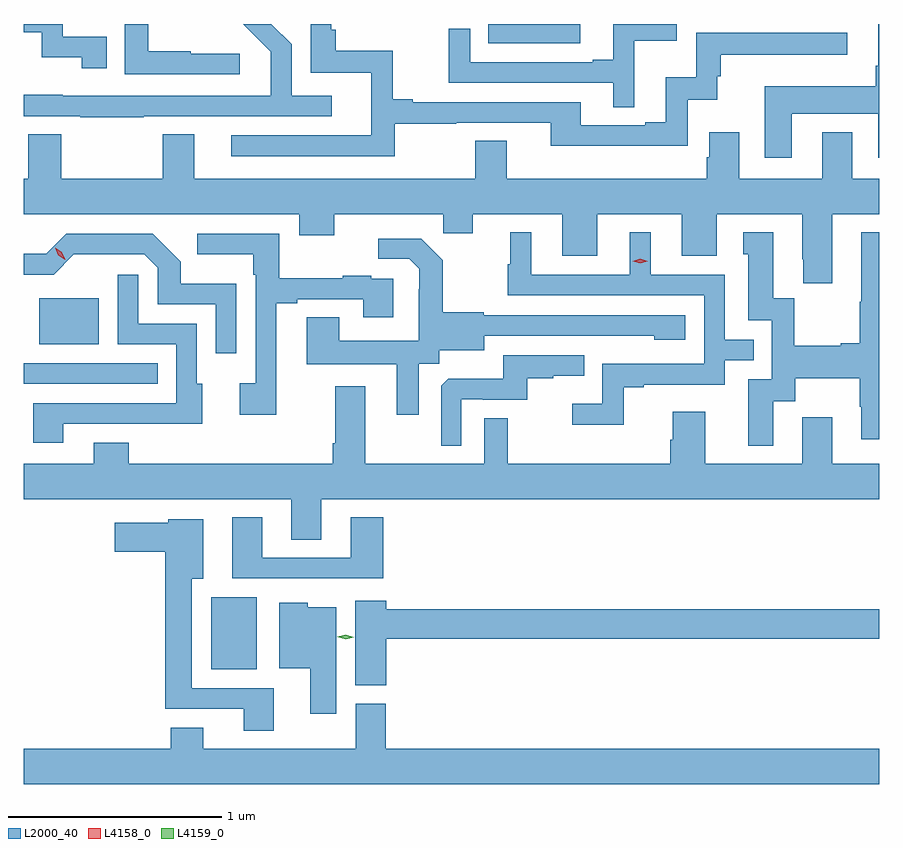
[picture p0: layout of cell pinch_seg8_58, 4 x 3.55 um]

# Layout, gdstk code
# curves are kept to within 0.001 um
import gdstk
lib = gdstk.Library(unit=1e-6, precision=1e-09)
def R(c, l, rs):  # rectangles x0, y0, x1, y1
    for r in rs: c.add(gdstk.rectangle(r[:2], r[2:], *l))
def P(c, l, *ps):  # polygons
    for p in ps: c.add(gdstk.Polygon(p, *l))
L2000_40 = (2000, 40)
L4158_0 = (4158, 0)
L4159_0 = (4159, 0)

pinch_seg8_58 = lib.new_cell('pinch_seg8_58')
R(pinch_seg8_58, L2000_40, [(914.15,1106.381,914.362,1106.716), (913.273,1107.714,913.901,1107.81), (913.346,1107.899,913.624,1108.114), (915.445,1109.306,915.874,1109.396)])
P(pinch_seg8_58, L2000_40, [(914.284,1109.258),(914.055,1109.258),(914.055,1109.269),(913.855,1109.269),(913.855,1109.396),(913.746,1109.396),(913.746,1109.16),(914.284,1109.16)],
  [(915.007,1108.93),(915.296,1108.93),(915.296,1108.935),(915.737,1108.935),(915.737,1108.826),(916.378,1108.826),(916.378,1109.042),(916.515,1109.042),(916.515,1109.151),(916.532,1109.151),(916.532,1109.252),(917.122,1109.252),(917.122,1109.356),(916.416,1109.356),(916.416,1109.146),(916.274,1109.146),(916.274,1108.936),(916.178,1108.936),(916.178,1108.923),(915.877,1108.923),(915.877,1109.031),(915.091,1109.031),(915.091,1109.044),(914.999,1109.044),(914.999,1109.27),(914.732,1109.27),(914.732,1109.369),(914.712,1109.369),(914.712,1109.396),(914.616,1109.396),(914.616,1109.167),(914.897,1109.167),(914.897,1108.875),(914.244,1108.875),(914.244,1108.779),(915.007,1108.779)],
  [(916.864,1108.976),(917.267,1108.976),(917.267,1108.77),(917.273,1108.77),(917.273,1109.396),(917.267,1109.396),(917.267,1109.2),(917.255,1109.2),(917.255,1109.104),(916.736,1109.104),(916.736,1108.77),(916.864,1108.77)],
  [(913.835,1108.965),(914.713,1108.965),(914.713,1109.061),(914.526,1109.061),(914.526,1109.301),(914.431,1109.396),(914.3,1109.396),(914.429,1109.266),(914.429,1109.061),(913.457,1109.061),(913.457,1109.066),(913.273,1109.066),(913.273,1108.965),(913.537,1108.965),(913.537,1108.96),(913.835,1108.96)],
  [(913.661,1109.337),(913.456,1109.337),(913.456,1109.396),(913.273,1109.396),(913.273,1109.358),(913.358,1109.358),(913.358,1109.24),(913.546,1109.24),(913.546,1109.19),(913.661,1109.19)],
  [(916.126,1109.318),(916.326,1109.318),(916.326,1109.396),(916.028,1109.396),(916.028,1109.23),(915.932,1109.23),(915.932,1109.217),(915.36,1109.217),(915.36,1109.374),(915.259,1109.374),(915.259,1109.121),(916.028,1109.121),(916.028,1109.008),(916.126,1109.008)],
  [(917.053,1108.508),(917.273,1108.508),(917.273,1108.672),(917.146,1108.672),(917.146,1108.891),(917.006,1108.891),(917.006,1108.672),(916.618,1108.672),(916.618,1108.891),(916.478,1108.891),(916.478,1108.773),(916.466,1108.773),(916.466,1108.672),(915.532,1108.672),(915.532,1108.85),(915.385,1108.85),(915.385,1108.672),(914.071,1108.672),(914.071,1108.88),(913.924,1108.88),(913.924,1108.672),(913.449,1108.672),(913.449,1108.88),(913.294,1108.88),(913.294,1108.672),(913.273,1108.672),(913.273,1108.508),(914.561,1108.508),(914.561,1108.409),(914.725,1108.409),(914.725,1108.508),(915.235,1108.508),(915.235,1108.418),(915.373,1108.418),(915.373,1108.508),(915.791,1108.508),(915.791,1108.314),(915.955,1108.314),(915.955,1108.508),(916.349,1108.508),(916.349,1108.314),(916.513,1108.314),(916.513,1108.508),(916.913,1108.508),(916.913,1108.297),(916.916,1108.297),(916.916,1108.185),(917.053,1108.185)],
  [(916.077,1107.699),(916.171,1107.699),(916.171,1107.711),(916.551,1107.711),(916.551,1107.825),(916.685,1107.825),(916.685,1107.921),(916.551,1107.921),(916.551,1108.224),(916.204,1108.224),(916.204,1108.423),(916.106,1108.423),(916.106,1108.224),(915.646,1108.224),(915.646,1108.423),(915.548,1108.423),(915.548,1108.272),(915.537,1108.272),(915.537,1108.128),(916.455,1108.128),(916.455,1107.807),(915.978,1107.807),(915.978,1107.622),(915.837,1107.622),(915.837,1107.524),(916.077,1107.524)],
  [(916.777,1107.634),(916.879,1107.634),(916.879,1107.74),(917.182,1107.74),(917.182,1107.606),(917.189,1107.606),(917.189,1107.456),(917.273,1107.456),(917.273,1108.423),(917.189,1108.423),(917.189,1108.097),(917.182,1108.097),(917.182,1107.905),(917.093,1107.905),(917.093,1107.892),(916.875,1107.892),(916.875,1108.115),(916.777,1108.115),(916.777,1108.423),(916.637,1108.423),(916.637,1108.32),(916.661,1108.32),(916.661,1108.011),(916.77,1108.011),(916.77,1107.735),(916.661,1107.735),(916.661,1107.426),(916.777,1107.426)],
  [(914.455,1108.092),(914.551,1108.092),(914.551,1108.11),(914.861,1108.11),(914.861,1108.026),(915.001,1108.026),(915.001,1108.206),(914.897,1108.206),(914.897,1108.219),(914.765,1108.219),(914.765,1108.208),(914.467,1108.208),(914.467,1108.416),(914.085,1108.416),(914.085,1108.319),(914.346,1108.319),(914.346,1108.223),(914.358,1108.223),(914.358,1107.718),(914.283,1107.718),(914.283,1107.57),(914.455,1107.57)],
  [(914.268,1108.183),(914.007,1108.183),(914.007,1108.286),(913.876,1108.416),(913.473,1108.416),(913.379,1108.322),(913.273,1108.322),(913.273,1108.224),(913.413,1108.224),(913.508,1108.319),(913.836,1108.32),(913.899,1108.257),(913.899,1108.086),(914.172,1108.086),(914.172,1107.858),(914.268,1107.858)],
  [(915.121,1107.808),(915.216,1107.808),(915.216,1107.872),(915.427,1107.872),(915.427,1107.939),(916.221,1107.938),(916.221,1107.92),(916.366,1107.92),(916.366,1108.035),(915.423,1108.035),(915.423,1108.048),(915.231,1108.048),(915.231,1108.293),(915.131,1108.393),(914.931,1108.393),(914.931,1108.299),(915.075,1108.299),(915.122,1108.252),(915.122,1108.157),(915.12,1108.157),(915.12,1107.916),(914.749,1107.916),(914.749,1108.025),(914.597,1108.025),(914.597,1107.806),(915.017,1107.806),(915.017,1107.57),(915.121,1107.57)],
  [(913.459,1107.528),(913.889,1107.528),(913.889,1107.527),(914.107,1107.527),(914.107,1107.714),(914.082,1107.714),(914.082,1107.996),(913.809,1107.996),(913.809,1108.225),(913.713,1108.225),(913.713,1107.9),(913.986,1107.9),(913.986,1107.624),(913.319,1107.624),(913.319,1107.438),(913.459,1107.438)],
  [(915.318,1107.642),(915.418,1107.642),(915.418,1107.639),(915.626,1107.639),(915.626,1107.741),(915.749,1107.741),(915.749,1107.752),(915.893,1107.752),(915.893,1107.849),(915.516,1107.849),(915.516,1107.737),(915.257,1107.737),(915.225,1107.705),(915.225,1107.425),(915.318,1107.425)],
  [(914.665,1107.176),(917.273,1107.176),(917.273,1107.34),(917.053,1107.34),(917.053,1107.559),(916.913,1107.559),(916.913,1107.34),(916.459,1107.34),(916.459,1107.583),(916.307,1107.583),(916.307,1107.453),(916.295,1107.453),(916.295,1107.34),(915.535,1107.34),(915.535,1107.554),(915.426,1107.554),(915.426,1107.34),(914.869,1107.34),(914.869,1107.703),(914.729,1107.703),(914.729,1107.436),(914.717,1107.436),(914.717,1107.34),(913.765,1107.34),(913.765,1107.439),(913.601,1107.439),(913.601,1107.34),(913.273,1107.34),(913.273,1107.176),(914.525,1107.176),(914.525,1106.986),(914.665,1106.986)],
  [(914.954,1107.091),(914.801,1107.091),(914.801,1106.901),(914.389,1106.901),(914.389,1107.091),(914.249,1107.091),(914.249,1106.805),(914.954,1106.805)],
  [(914.443,1106.292),(914.059,1106.292),(914.059,1106.804),(914.113,1106.804),(914.113,1107.082),(913.95,1107.082),(913.95,1107.064),(913.698,1107.064),(913.698,1106.93),(913.934,1106.93),(913.934,1106.196),(914.303,1106.196),(914.303,1106.094),(914.443,1106.094)],
  [(914.969,1106.524),(917.273,1106.524),(917.273,1106.66),(914.969,1106.66),(914.969,1106.701),(914.822,1106.701),(914.822,1106.305),(914.969,1106.305)],
  [(914.734,1106.671),(914.601,1106.671),(914.601,1106.692),(914.468,1106.692),(914.468,1106.384),(914.612,1106.384),(914.612,1106.172),(914.734,1106.172)],
  [(917.273,1106.008),(914.966,1106.008),(914.966,1106.22),(914.825,1106.22),(914.825,1106.008),(914.113,1106.008),(914.113,1106.107),(913.961,1106.107),(913.961,1106.008),(913.273,1106.008),(913.273,1105.844),(917.273,1105.844)])
P(pinch_seg8_58, L4158_0, [(916.155,1108.278),(916.119,1108.287),(916.119,1108.288),(916.119,1108.288),(916.155,1108.298),(916.191,1108.288),(916.191,1108.288),(916.191,1108.287)],
  [(913.467,1108.294),(913.436,1108.316),(913.421,1108.35),(913.421,1108.35),(913.421,1108.35),(913.452,1108.329),(913.467,1108.295),(913.467,1108.294)])
P(pinch_seg8_58, L4159_0, [(914.778,1106.521),(914.74,1106.532),(914.74,1106.532),(914.74,1106.532),(914.778,1106.541),(914.816,1106.531),(914.816,1106.53),(914.816,1106.53)])

lib.write_gds('pinch_seg8_58.gds')
